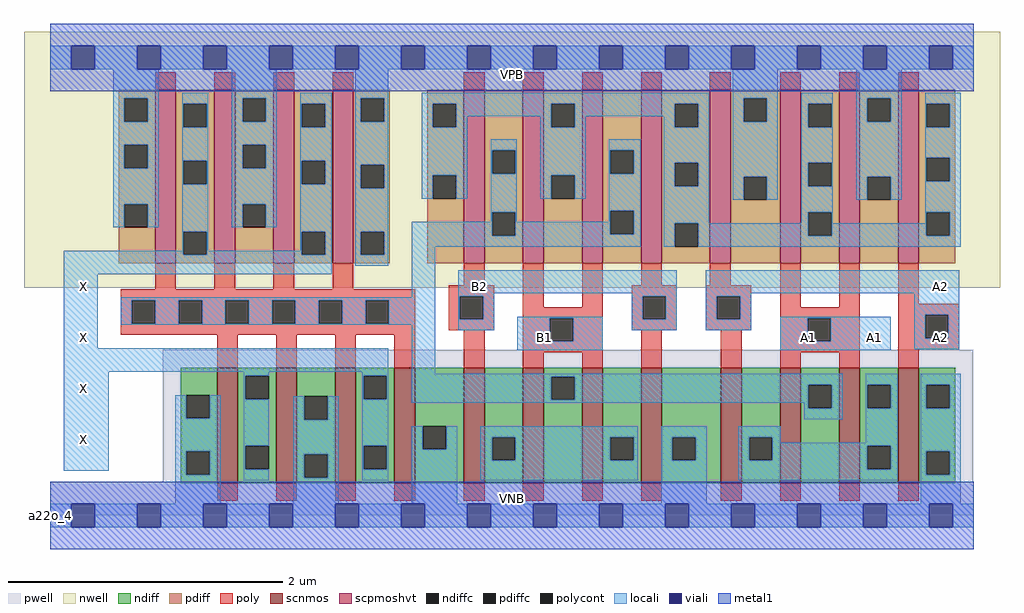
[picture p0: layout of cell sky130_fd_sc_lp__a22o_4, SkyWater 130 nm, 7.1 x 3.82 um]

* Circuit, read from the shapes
.subckt sky130_fd_sc_lp__a22o_4 A1 A2 B1 B2 VGND VNB VPB VPWR X
XM1 X n1 VGND VNB sky130_fd_pr__nfet_01v8 w=0.84 l=0.15 m=4
XM2 n2 B2 VGND VNB sky130_fd_pr__nfet_01v8 w=0.84 l=0.15 m=2
XM3 n1 B1 n2 VNB sky130_fd_pr__nfet_01v8 w=0.84 l=0.15 m=2
XM4 n3 A2 VGND VNB sky130_fd_pr__nfet_01v8 w=0.84 l=0.15 m=2
XM5 n1 A1 n3 VNB sky130_fd_pr__nfet_01v8 w=0.84 l=0.15 m=2
XM6 X n1 VPWR VPB sky130_fd_pr__pfet_01v8_hvt w=1.26 l=0.15 m=4
XM7 n1 B2 n4 VPB sky130_fd_pr__pfet_01v8_hvt w=1.26 l=0.15 m=2
XM8 n4 B1 n1 VPB sky130_fd_pr__pfet_01v8_hvt w=1.26 l=0.15 m=2
XM9 VPWR A2 n4 VPB sky130_fd_pr__pfet_01v8_hvt w=1.26 l=0.15 m=2
XM10 n4 A1 VPWR VPB sky130_fd_pr__pfet_01v8_hvt w=1.26 l=0.15 m=2
.ends

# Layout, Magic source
magic
tech sky130A
magscale 1 2
<< nwell >>
rect -38 331 1382 704
<< pwell >>
rect 164 49 1343 241
rect 0 0 1344 49
<< scnmos >>
rect 243 47 273 215
rect 329 47 359 215
rect 415 47 445 215
rect 501 47 531 215
rect 602 47 632 215
rect 688 47 718 215
rect 774 47 804 215
rect 860 47 890 215
rect 976 47 1006 215
rect 1062 47 1092 215
rect 1148 47 1178 215
rect 1234 47 1264 215
<< scpmoshvt >>
rect 153 367 183 619
rect 239 367 269 619
rect 325 367 355 619
rect 411 367 441 619
rect 602 367 632 619
rect 688 367 718 619
rect 774 367 804 619
rect 860 367 890 619
rect 960 367 990 619
rect 1062 367 1092 619
rect 1148 367 1178 619
rect 1234 367 1264 619
<< ndiff >>
rect 190 175 243 215
rect 190 141 198 175
rect 232 141 243 175
rect 190 93 243 141
rect 190 59 198 93
rect 232 59 243 93
rect 190 47 243 59
rect 273 203 329 215
rect 273 169 284 203
rect 318 169 329 203
rect 273 101 329 169
rect 273 67 284 101
rect 318 67 329 101
rect 273 47 329 67
rect 359 173 415 215
rect 359 139 370 173
rect 404 139 415 173
rect 359 89 415 139
rect 359 55 370 89
rect 404 55 415 89
rect 359 47 415 55
rect 445 203 501 215
rect 445 169 456 203
rect 490 169 501 203
rect 445 101 501 169
rect 445 67 456 101
rect 490 67 501 101
rect 445 47 501 67
rect 531 130 602 215
rect 531 96 542 130
rect 576 96 602 130
rect 531 47 602 96
rect 632 114 688 215
rect 632 80 643 114
rect 677 80 688 114
rect 632 47 688 80
rect 718 202 774 215
rect 718 168 729 202
rect 763 168 774 202
rect 718 47 774 168
rect 804 114 860 215
rect 804 80 815 114
rect 849 80 860 114
rect 804 47 860 80
rect 890 114 976 215
rect 890 80 905 114
rect 939 80 976 114
rect 890 47 976 80
rect 1006 114 1062 215
rect 1006 80 1017 114
rect 1051 80 1062 114
rect 1006 47 1062 80
rect 1092 190 1148 215
rect 1092 156 1103 190
rect 1137 156 1148 190
rect 1092 47 1148 156
rect 1178 190 1234 215
rect 1178 156 1189 190
rect 1223 156 1234 190
rect 1178 101 1234 156
rect 1178 67 1189 101
rect 1223 67 1234 101
rect 1178 47 1234 67
rect 1264 190 1317 215
rect 1264 156 1275 190
rect 1309 156 1317 190
rect 1264 93 1317 156
rect 1264 59 1275 93
rect 1309 59 1317 93
rect 1264 47 1317 59
<< pdiff >>
rect 100 607 153 619
rect 100 573 108 607
rect 142 573 153 607
rect 100 539 153 573
rect 100 505 108 539
rect 142 505 153 539
rect 100 453 153 505
rect 100 419 108 453
rect 142 419 153 453
rect 100 367 153 419
rect 183 599 239 619
rect 183 565 194 599
rect 228 565 239 599
rect 183 516 239 565
rect 183 482 194 516
rect 228 482 239 516
rect 183 413 239 482
rect 183 379 194 413
rect 228 379 239 413
rect 183 367 239 379
rect 269 607 325 619
rect 269 573 280 607
rect 314 573 325 607
rect 269 539 325 573
rect 269 505 280 539
rect 314 505 325 539
rect 269 453 325 505
rect 269 419 280 453
rect 314 419 325 453
rect 269 367 325 419
rect 355 599 411 619
rect 355 565 366 599
rect 400 565 411 599
rect 355 516 411 565
rect 355 482 366 516
rect 400 482 411 516
rect 355 413 411 482
rect 355 379 366 413
rect 400 379 411 413
rect 355 367 411 379
rect 441 607 494 619
rect 441 573 452 607
rect 486 573 494 607
rect 441 510 494 573
rect 441 476 452 510
rect 486 476 494 510
rect 441 413 494 476
rect 441 379 452 413
rect 486 379 494 413
rect 441 367 494 379
rect 549 599 602 619
rect 549 565 557 599
rect 591 565 602 599
rect 549 495 602 565
rect 549 461 557 495
rect 591 461 602 495
rect 549 367 602 461
rect 632 531 688 619
rect 632 497 643 531
rect 677 497 688 531
rect 632 441 688 497
rect 632 407 643 441
rect 677 407 688 441
rect 632 367 688 407
rect 718 599 774 619
rect 718 565 729 599
rect 763 565 774 599
rect 718 495 774 565
rect 718 461 729 495
rect 763 461 774 495
rect 718 367 774 461
rect 804 531 860 619
rect 804 497 815 531
rect 849 497 860 531
rect 804 443 860 497
rect 804 409 815 443
rect 849 409 860 443
rect 804 367 860 409
rect 890 599 960 619
rect 890 565 909 599
rect 943 565 960 599
rect 890 513 960 565
rect 890 479 909 513
rect 943 479 960 513
rect 890 425 960 479
rect 890 391 909 425
rect 943 391 960 425
rect 890 367 960 391
rect 990 607 1062 619
rect 990 573 1009 607
rect 1043 573 1062 607
rect 990 493 1062 573
rect 990 459 1009 493
rect 1043 459 1062 493
rect 990 367 1062 459
rect 1092 599 1148 619
rect 1092 565 1103 599
rect 1137 565 1148 599
rect 1092 513 1148 565
rect 1092 479 1103 513
rect 1137 479 1148 513
rect 1092 441 1148 479
rect 1092 407 1103 441
rect 1137 407 1148 441
rect 1092 367 1148 407
rect 1178 607 1234 619
rect 1178 573 1189 607
rect 1223 573 1234 607
rect 1178 493 1234 573
rect 1178 459 1189 493
rect 1223 459 1234 493
rect 1178 367 1234 459
rect 1264 599 1317 619
rect 1264 565 1275 599
rect 1309 565 1317 599
rect 1264 520 1317 565
rect 1264 486 1275 520
rect 1309 486 1317 520
rect 1264 441 1317 486
rect 1264 407 1275 441
rect 1309 407 1317 441
rect 1264 367 1317 407
<< ndiffc >>
rect 198 141 232 175
rect 198 59 232 93
rect 284 169 318 203
rect 284 67 318 101
rect 370 139 404 173
rect 370 55 404 89
rect 456 169 490 203
rect 456 67 490 101
rect 542 96 576 130
rect 643 80 677 114
rect 729 168 763 202
rect 815 80 849 114
rect 905 80 939 114
rect 1017 80 1051 114
rect 1103 156 1137 190
rect 1189 156 1223 190
rect 1189 67 1223 101
rect 1275 156 1309 190
rect 1275 59 1309 93
<< pdiffc >>
rect 108 573 142 607
rect 108 505 142 539
rect 108 419 142 453
rect 194 565 228 599
rect 194 482 228 516
rect 194 379 228 413
rect 280 573 314 607
rect 280 505 314 539
rect 280 419 314 453
rect 366 565 400 599
rect 366 482 400 516
rect 366 379 400 413
rect 452 573 486 607
rect 452 476 486 510
rect 452 379 486 413
rect 557 565 591 599
rect 557 461 591 495
rect 643 497 677 531
rect 643 407 677 441
rect 729 565 763 599
rect 729 461 763 495
rect 815 497 849 531
rect 815 409 849 443
rect 909 565 943 599
rect 909 479 943 513
rect 909 391 943 425
rect 1009 573 1043 607
rect 1009 459 1043 493
rect 1103 565 1137 599
rect 1103 479 1137 513
rect 1103 407 1137 441
rect 1189 573 1223 607
rect 1189 459 1223 493
rect 1275 565 1309 599
rect 1275 486 1309 520
rect 1275 407 1309 441
<< poly >>
rect 153 619 183 645
rect 239 619 269 645
rect 325 619 355 645
rect 411 619 441 645
rect 602 619 632 645
rect 688 619 718 645
rect 774 619 804 645
rect 860 619 890 645
rect 960 619 990 645
rect 1062 619 1092 645
rect 1148 619 1178 645
rect 1234 619 1264 645
rect 153 329 183 367
rect 239 329 269 367
rect 325 329 355 367
rect 411 329 441 367
rect 602 335 632 367
rect 103 313 531 329
rect 103 279 119 313
rect 153 279 187 313
rect 221 279 255 313
rect 289 279 323 313
rect 357 279 391 313
rect 425 279 459 313
rect 493 279 531 313
rect 103 263 531 279
rect 580 319 646 335
rect 580 285 596 319
rect 630 285 646 319
rect 580 269 646 285
rect 688 303 718 367
rect 774 303 804 367
rect 860 335 890 367
rect 960 335 990 367
rect 688 287 804 303
rect 243 215 273 263
rect 329 215 359 263
rect 415 215 445 263
rect 501 215 531 263
rect 602 215 632 269
rect 688 253 727 287
rect 761 253 804 287
rect 846 319 912 335
rect 846 285 862 319
rect 896 285 912 319
rect 846 269 912 285
rect 954 319 1020 335
rect 954 285 970 319
rect 1004 285 1020 319
rect 954 269 1020 285
rect 1062 303 1092 367
rect 1148 303 1178 367
rect 1062 287 1178 303
rect 688 237 804 253
rect 688 215 718 237
rect 774 215 804 237
rect 860 215 890 269
rect 976 215 1006 269
rect 1062 253 1102 287
rect 1136 253 1178 287
rect 1062 237 1178 253
rect 1062 215 1092 237
rect 1148 215 1178 237
rect 1234 308 1264 367
rect 1234 292 1323 308
rect 1234 258 1273 292
rect 1307 258 1323 292
rect 1234 242 1323 258
rect 1234 215 1264 242
rect 243 21 273 47
rect 329 21 359 47
rect 415 21 445 47
rect 501 21 531 47
rect 602 21 632 47
rect 688 21 718 47
rect 774 21 804 47
rect 860 21 890 47
rect 976 21 1006 47
rect 1062 21 1092 47
rect 1148 21 1178 47
rect 1234 21 1264 47
<< polycont >>
rect 119 279 153 313
rect 187 279 221 313
rect 255 279 289 313
rect 323 279 357 313
rect 391 279 425 313
rect 459 279 493 313
rect 596 285 630 319
rect 727 253 761 287
rect 862 285 896 319
rect 970 285 1004 319
rect 1102 253 1136 287
rect 1273 258 1307 292
<< locali >>
rect 0 649 31 683
rect 65 649 127 683
rect 161 649 223 683
rect 257 649 319 683
rect 353 649 415 683
rect 449 649 511 683
rect 545 649 607 683
rect 641 649 703 683
rect 737 649 799 683
rect 833 649 895 683
rect 929 649 991 683
rect 1025 649 1087 683
rect 1121 649 1183 683
rect 1217 649 1279 683
rect 1313 649 1344 683
rect 92 607 158 649
rect 92 573 108 607
rect 142 573 158 607
rect 92 539 158 573
rect 92 505 108 539
rect 142 505 158 539
rect 92 453 158 505
rect 92 419 108 453
rect 142 419 158 453
rect 192 599 230 615
rect 192 565 194 599
rect 228 565 230 599
rect 192 516 230 565
rect 192 482 194 516
rect 228 482 230 516
rect 192 413 230 482
rect 264 607 330 649
rect 264 573 280 607
rect 314 573 330 607
rect 264 539 330 573
rect 264 505 280 539
rect 314 505 330 539
rect 264 453 330 505
rect 264 419 280 453
rect 314 419 330 453
rect 364 599 410 615
rect 364 565 366 599
rect 400 565 410 599
rect 364 516 410 565
rect 364 482 366 516
rect 400 482 410 516
rect 192 385 194 413
rect 20 379 194 385
rect 228 385 230 413
rect 364 413 410 482
rect 364 385 366 413
rect 228 379 366 385
rect 400 379 410 413
rect 20 351 410 379
rect 444 607 492 649
rect 444 573 452 607
rect 486 573 492 607
rect 444 510 492 573
rect 444 476 452 510
rect 486 476 492 510
rect 444 413 492 476
rect 541 599 959 615
rect 541 565 557 599
rect 591 581 729 599
rect 591 565 607 581
rect 541 495 607 565
rect 713 565 729 581
rect 763 581 909 599
rect 763 565 779 581
rect 541 461 557 495
rect 591 461 607 495
rect 641 531 679 547
rect 641 497 643 531
rect 677 497 679 531
rect 641 441 679 497
rect 713 495 779 565
rect 893 565 909 581
rect 943 565 959 599
rect 713 461 729 495
rect 763 461 779 495
rect 813 531 859 547
rect 813 497 815 531
rect 849 497 859 531
rect 641 427 643 441
rect 444 379 452 413
rect 486 379 492 413
rect 444 363 492 379
rect 526 407 643 427
rect 677 427 679 441
rect 813 443 859 497
rect 813 427 815 443
rect 677 409 815 427
rect 849 409 859 443
rect 677 407 859 409
rect 526 391 859 407
rect 893 513 959 565
rect 893 479 909 513
rect 943 479 959 513
rect 893 425 959 479
rect 993 607 1059 649
rect 993 573 1009 607
rect 1043 573 1059 607
rect 993 493 1059 573
rect 993 459 1009 493
rect 1043 459 1059 493
rect 1093 599 1139 615
rect 1093 565 1103 599
rect 1137 565 1139 599
rect 1093 513 1139 565
rect 1093 479 1103 513
rect 1137 479 1139 513
rect 1093 441 1139 479
rect 1173 607 1239 649
rect 1173 573 1189 607
rect 1223 573 1239 607
rect 1173 493 1239 573
rect 1173 459 1189 493
rect 1223 459 1239 493
rect 1273 599 1325 615
rect 1273 565 1275 599
rect 1309 565 1325 599
rect 1273 520 1325 565
rect 1273 486 1275 520
rect 1309 486 1325 520
rect 1093 425 1103 441
rect 893 391 909 425
rect 943 407 1103 425
rect 1137 425 1139 441
rect 1273 441 1325 486
rect 1273 425 1275 441
rect 1137 407 1275 425
rect 1309 407 1325 441
rect 943 391 1325 407
rect 20 243 69 351
rect 526 317 560 391
rect 103 313 560 317
rect 103 279 119 313
rect 153 279 187 313
rect 221 279 255 313
rect 289 279 323 313
rect 357 279 391 313
rect 425 279 459 313
rect 493 279 560 313
rect 103 277 560 279
rect 20 209 492 243
rect 20 65 85 209
rect 282 203 318 209
rect 182 141 198 175
rect 232 141 248 175
rect 182 93 248 141
rect 182 59 198 93
rect 232 59 248 93
rect 182 17 248 59
rect 282 169 284 203
rect 454 203 492 209
rect 282 101 318 169
rect 282 67 284 101
rect 282 51 318 67
rect 354 139 370 173
rect 404 139 420 173
rect 354 89 420 139
rect 354 55 370 89
rect 404 55 420 89
rect 354 17 420 55
rect 454 169 456 203
rect 490 169 492 203
rect 454 101 492 169
rect 526 206 560 277
rect 594 323 912 357
rect 594 319 646 323
rect 594 285 596 319
rect 630 285 646 319
rect 846 319 912 323
rect 594 269 646 285
rect 680 287 804 289
rect 680 253 727 287
rect 761 253 804 287
rect 846 285 862 319
rect 896 285 912 319
rect 846 269 912 285
rect 954 323 1323 357
rect 954 319 1020 323
rect 954 285 970 319
rect 1004 285 1020 319
rect 1257 292 1323 323
rect 954 269 1020 285
rect 1062 287 1223 289
rect 680 240 804 253
rect 1062 253 1102 287
rect 1136 253 1223 287
rect 1062 240 1223 253
rect 1257 258 1273 292
rect 1307 258 1323 292
rect 1257 242 1323 258
rect 526 202 1153 206
rect 526 168 729 202
rect 763 190 1153 202
rect 763 168 1103 190
rect 526 164 1103 168
rect 1097 156 1103 164
rect 1137 156 1153 190
rect 1097 140 1153 156
rect 1187 190 1233 206
rect 1187 156 1189 190
rect 1223 156 1233 190
rect 454 67 456 101
rect 490 67 492 101
rect 454 51 492 67
rect 526 96 542 130
rect 576 96 592 130
rect 526 17 592 96
rect 626 114 855 130
rect 626 80 643 114
rect 677 80 815 114
rect 849 80 855 114
rect 626 51 855 80
rect 889 114 955 130
rect 889 80 905 114
rect 939 80 955 114
rect 889 17 955 80
rect 1001 114 1063 130
rect 1001 80 1017 114
rect 1051 106 1063 114
rect 1187 106 1233 156
rect 1051 101 1233 106
rect 1051 80 1189 101
rect 1001 67 1189 80
rect 1223 67 1233 101
rect 1001 51 1233 67
rect 1267 190 1325 206
rect 1267 156 1275 190
rect 1309 156 1325 190
rect 1267 93 1325 156
rect 1267 59 1275 93
rect 1309 59 1325 93
rect 1267 17 1325 59
rect 0 -17 31 17
rect 65 -17 127 17
rect 161 -17 223 17
rect 257 -17 319 17
rect 353 -17 415 17
rect 449 -17 511 17
rect 545 -17 607 17
rect 641 -17 703 17
rect 737 -17 799 17
rect 833 -17 895 17
rect 929 -17 991 17
rect 1025 -17 1087 17
rect 1121 -17 1183 17
rect 1217 -17 1279 17
rect 1313 -17 1344 17
<< viali >>
rect 31 649 65 683
rect 127 649 161 683
rect 223 649 257 683
rect 319 649 353 683
rect 415 649 449 683
rect 511 649 545 683
rect 607 649 641 683
rect 703 649 737 683
rect 799 649 833 683
rect 895 649 929 683
rect 991 649 1025 683
rect 1087 649 1121 683
rect 1183 649 1217 683
rect 1279 649 1313 683
rect 31 -17 65 17
rect 127 -17 161 17
rect 223 -17 257 17
rect 319 -17 353 17
rect 415 -17 449 17
rect 511 -17 545 17
rect 607 -17 641 17
rect 703 -17 737 17
rect 799 -17 833 17
rect 895 -17 929 17
rect 991 -17 1025 17
rect 1087 -17 1121 17
rect 1183 -17 1217 17
rect 1279 -17 1313 17
<< metal1 >>
rect 0 683 1344 715
rect 0 649 31 683
rect 65 649 127 683
rect 161 649 223 683
rect 257 649 319 683
rect 353 649 415 683
rect 449 649 511 683
rect 545 649 607 683
rect 641 649 703 683
rect 737 649 799 683
rect 833 649 895 683
rect 929 649 991 683
rect 1025 649 1087 683
rect 1121 649 1183 683
rect 1217 649 1279 683
rect 1313 649 1344 683
rect 0 617 1344 649
rect 0 17 1344 49
rect 0 -17 31 17
rect 65 -17 127 17
rect 161 -17 223 17
rect 257 -17 319 17
rect 353 -17 415 17
rect 449 -17 511 17
rect 545 -17 607 17
rect 641 -17 703 17
rect 737 -17 799 17
rect 833 -17 895 17
rect 929 -17 991 17
rect 1025 -17 1087 17
rect 1121 -17 1183 17
rect 1217 -17 1279 17
rect 1313 -17 1344 17
rect 0 -49 1344 -17
<< labels >>
flabel pwell s 0 0 1344 49 0 FreeSans 200 0 0 0 VNB
port 6 nsew ground bidirectional
flabel nwell s 0 617 1344 666 0 FreeSans 200 0 0 0 VPB
port 7 nsew power bidirectional
rlabel comment s 0 0 0 0 4 a22o_4
flabel metal1 s 0 617 1344 666 0 FreeSans 340 0 0 0 VPWR
port 8 nsew power bidirectional
flabel metal1 s 0 0 1344 49 0 FreeSans 340 0 0 0 VGND
port 5 nsew ground bidirectional
flabel locali s 1087 242 1121 276 0 FreeSans 340 0 0 0 A1
port 1 nsew signal input
flabel locali s 1183 242 1217 276 0 FreeSans 340 0 0 0 A1
port 1 nsew signal input
flabel locali s 703 242 737 276 0 FreeSans 340 0 0 0 B1
port 3 nsew signal input
flabel locali s 31 94 65 128 0 FreeSans 340 0 0 0 X
port 9 nsew signal output
flabel locali s 31 168 65 202 0 FreeSans 340 0 0 0 X
port 9 nsew signal output
flabel locali s 31 242 65 276 0 FreeSans 340 0 0 0 X
port 9 nsew signal output
flabel locali s 31 316 65 350 0 FreeSans 340 0 0 0 X
port 9 nsew signal output
flabel locali s 1279 242 1313 276 0 FreeSans 340 0 0 0 A2
port 2 nsew signal input
flabel locali s 1279 316 1313 350 0 FreeSans 340 0 0 0 A2
port 2 nsew signal input
flabel locali s 607 316 641 350 0 FreeSans 340 0 0 0 B2
port 4 nsew signal input
<< properties >>
string LEFsite unit
string LEFclass CORE
string FIXED_BBOX 0 0 1344 666
string GDS_FILE $PDKPATH/libs.ref/sky130_fd_sc_lp/gds/sky130_fd_sc_lp.gds
string LEFsymmetry X Y R90
string GDS_END 1131416
string GDS_START 1119984
<< end >>
